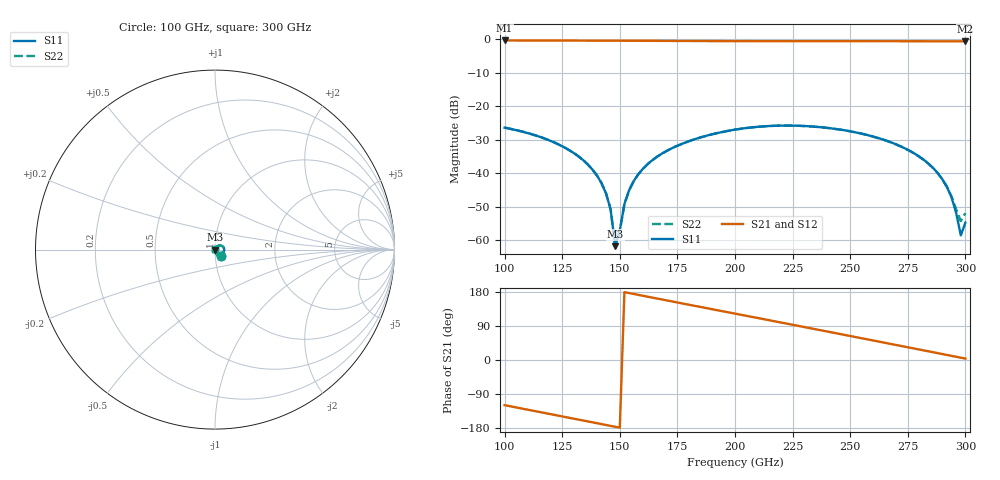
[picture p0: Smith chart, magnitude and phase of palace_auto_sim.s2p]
#  GHZ S DB R 50
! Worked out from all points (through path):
!   101 points, 100 GHz to 300 GHz, reference 50 ohm
!   highest |S21| = -0.39 dB at 100 GHz (marker M1); lowest = -0.7 dB at 300 GHz (marker M2)
!   group delay of S21, straight-line fit = 3.29 ps
!   lowest |S11| = -61.8 dB at 148 GHz (marker M3), VSWR 1.00, Z = 50 - j0.0794 ohm
!   |S11| at or under -10 dB: start of sweep to end of sweep
!   |S22| runs from -61.5 to -25.8 dB; largest |S21 - S12| = 1.1e-14
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100  -26.42 -49.2  -0.39 -119.2  -0.39 -119.2  -26.41 -49.4
120  -30.38 -70.2  -0.42 -142.9  -0.42 -142.9  -30.37 -70.4
134  -36.06 -84.5  -0.44 -159.6  -0.44 -159.6  -36.04 -84.7
140  -40.63 -90.0  -0.45 -166.7  -0.45 -166.7  -40.60 -90.2
144  -45.99 -92.5  -0.46 -171.5  -0.46 -171.5  -45.94 -92.7
146  -50.78 -91.9  -0.47 -173.8  -0.47 -173.8  -50.71 -92.1
148  -61.78 -77.3  -0.47 -176.2  -0.47 -176.2  -61.52 -77.5
150  -57.10 64.5  -0.47 -178.6  -0.47 -178.6  -57.22 63.5
152  -49.20 70.3  -0.48 179.0  -0.48 179.0  -49.25 69.8
154  -45.14 70.3  -0.48 176.7  -0.48 176.7  -45.17 69.8
160  -38.70 65.9  -0.50 169.5  -0.50 169.5  -38.72 65.5
168  -34.28 58.5  -0.52 160.1  -0.52 160.1  -34.29 58.1
182  -29.98 44.8  -0.56 143.5  -0.56 143.5  -29.99 44.5
200  -27.01 25.3  -0.59 122.4  -0.59 122.4  -27.02 24.9
218  -25.84 3.5  -0.60 101.2  -0.60 101.2  -25.85 3.2
234  -26.09 -16.0  -0.61 82.3  -0.61 82.3  -26.10 -16.2
268  -30.87 -55.5  -0.62 41.9  -0.62 41.9  -30.90 -55.0
286  -38.46 -73.2  -0.64 20.5  -0.64 20.5  -38.50 -70.3
294  -47.24 -72.9  -0.65 10.9  -0.65 10.9  -47.01 -63.3
296  -51.87 -64.2  -0.65 8.5  -0.65 8.5  -50.88 -48.9
298  -58.58 -22.6  -0.65 6.2  -0.65 6.2  -54.28 -10.0
300  -54.75 48.5  -0.66 3.8  -0.66 3.8  -51.95 35.1
